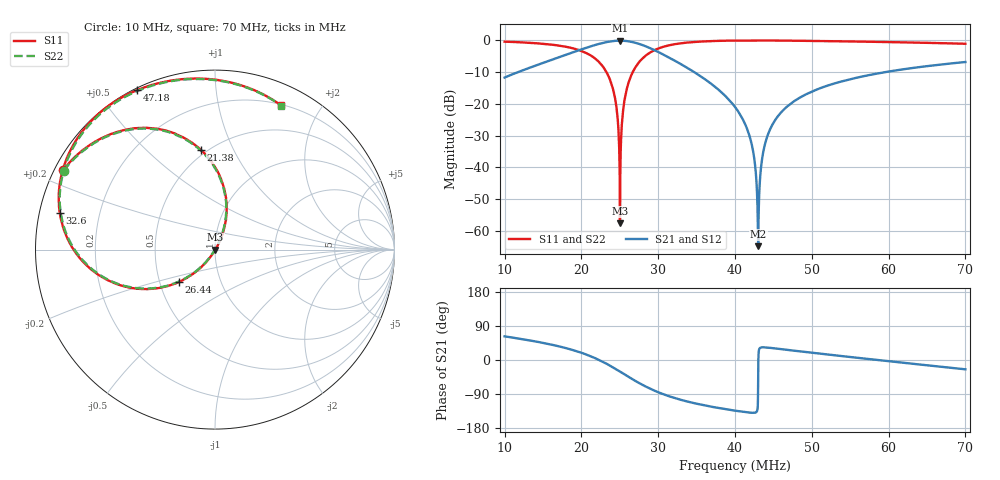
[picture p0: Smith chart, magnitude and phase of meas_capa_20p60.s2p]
#  HZ  S  RI  R  50.00
! Rohde & Schwarz ZVT8 8Ports - Version 4.11 - 1300.0000k08 SN: 100242
! Date: 2026-07-13 13:49:14
! Measurements: S11 S21 S12 S22
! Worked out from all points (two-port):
!   3001 points, 10 MHz to 70 MHz, reference 50 ohm
!   highest |S21| = -0.08 dB at 25.06 MHz (marker M1); lowest = -64.9 dB at 43.02 MHz (marker M2)
!   |S21| within 3 dB of the highest: 19.71 MHz to 29.51 MHz (9.8 MHz wide, 39.8 % of centre)
!   lowest |S11| = -57.7 dB at 25.02 MHz (marker M3), VSWR 1.00, Z = 50.1 - j0.0247 ohm
!   |S11| at or under -10 dB: 23.26 MHz to 26.69 MHz (3.427 MHz wide, 13.7 % of centre)
!   |S22| runs from -60.5 to -0.1 dB; largest |S21 - S12| = 0.0016
!   S11 on the Smith chart (normalised r, x): 10 MHz: 0.03, +0.25; 21.38 MHz: 0.47, +0.76; 26.44 MHz: 0.63, -0.25; 32.6 MHz: 0.06, +0.12; 47.18 MHz: 0.01, +0.62; 70 MHz: 0.21, +1.54
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1e7  -0.8447 0.4429  0.1203 0.2296  0.1207 0.2294  -0.8423 0.4401
2e7  -0.2187 0.6446  0.6816 0.2342  0.6809 0.2338  -0.2191 0.6417
2.138e7  -0.078 0.5559  0.8078 0.1209  0.8075 0.1207  -0.0802 0.5526
2.392e7  0.0634 0.1951  0.926 -0.2843  0.9252 -0.2841  0.0613 0.1953
2.448e7  0.044 0.0938  0.9018 -0.3962  0.9006 -0.396  0.0419 0.095
2.48e7  0.0212 0.038  0.8765 -0.459  0.8759 -0.4586  0.0205 0.0381
2.502e7  0.00127 -0.000247  0.8547 -0.5006  0.8535 -0.5002  0.000173 0.00093
2.506e7  -0.00244 -0.00659  0.8503 -0.5083  0.8491 -0.5075  -0.00295 -0.00545
2.564e7  -0.0738 -0.0943  0.7731 -0.607  0.7728 -0.6066  -0.0742 -0.0933
2.644e7  -0.2024 -0.1813  0.6359 -0.7086  0.6358 -0.708  -0.2026 -0.1786
3e7  -0.7412 -0.0611  0.0566 -0.654  0.0568 -0.6549  -0.7369 -0.0589
3.26e7  -0.8649 0.2035  -0.1007 -0.4349  -0.1008 -0.4353  -0.8597 0.2046
4e7  -0.7134 0.69  -0.0616 -0.0645  -0.0617 -0.0644  -0.7076 0.6871
4.202e7  -0.6386 0.7648  -0.0207 -0.018  -0.0207 -0.018  -0.6329 0.7614
4.246e7  -0.6214 0.7789  -0.0114 -0.00979  -0.0114 -0.00977  -0.616 0.775
4.302e7  -0.6 0.7962  0.000475 -0.000314  0.000464 -0.000306  -0.5946 0.7916
4.36e7  -0.5771 0.8122  0.0128 0.0085  0.0128 0.00848  -0.5716 0.8075
4.422e7  -0.5526 0.828  0.0261 0.0168  0.0261 0.0168  -0.5477 0.8238
4.718e7  -0.434 0.8886  0.0891 0.0431  0.089 0.0431  -0.4313 0.8841
5e7  -0.3226 0.9249  0.147 0.0512  0.147 0.0511  -0.3202 0.922
6e7  0.054 0.9384  0.3219 -0.0173  0.3215 -0.0175  0.056 0.9356
7e7  0.3668 0.8045  0.4144 -0.1893  0.4145 -0.1893  0.3697 0.8021
